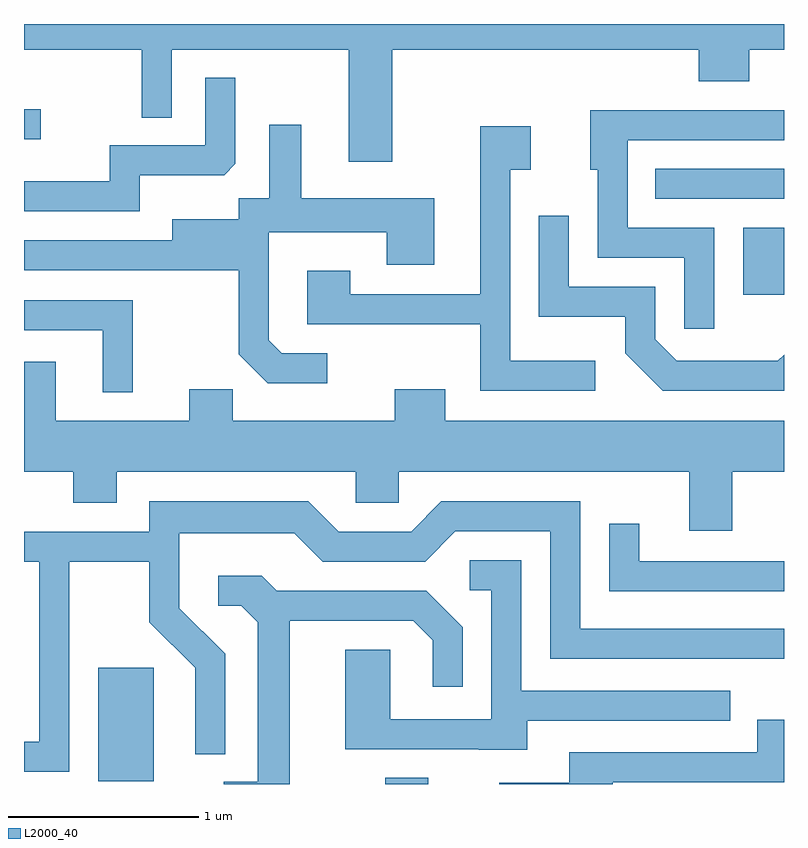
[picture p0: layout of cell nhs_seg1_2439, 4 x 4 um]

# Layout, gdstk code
import gdstk
lib = gdstk.Library(unit=1e-6, precision=1e-09)
def R(c, l, rs):  # rectangles x0, y0, x1, y1
    for r in rs: c.add(gdstk.rectangle(r[:2], r[2:], *l))
def P(c, l, *ps):  # polygons
    for p in ps: c.add(gdstk.Polygon(p, *l))
L2000_40 = (2000, 40)

nhs_seg1_2439 = lib.new_cell('nhs_seg1_2439')
R(nhs_seg1_2439, L2000_40, [(261.511,895.712,261.739,895.744), (260.001,895.726,260.294,896.324), (263.396,898.286,263.611,898.639), (262.933,898.791,263.611,898.949), (259.611,899.106,259.698,899.264)])
P(nhs_seg1_2439, L2000_40, [(261.549,899.576),(263.161,899.576),(263.161,899.411),(263.429,899.411),(263.429,899.576),(263.611,899.576),(263.611,899.712),(259.611,899.712),(259.611,899.576),(260.231,899.576),(260.231,899.218),(260.389,899.218),(260.389,899.576),(261.321,899.576),(261.321,898.986),(261.549,898.986)],
  [(260.219,898.916),(260.664,898.916),(260.724,898.977),(260.724,899.428),(260.566,899.428),(260.566,899.074),(260.061,899.074),(260.061,898.884),(259.613,898.884),(259.613,898.726),(260.219,898.726)],
  [(263.244,898.639),(262.789,898.639),(262.789,899.101),(263.611,899.101),(263.611,899.259),(262.591,899.259),(262.591,898.946),(262.631,898.946),(262.631,898.481),(263.086,898.481),(263.086,898.108),(263.244,898.108)],
  [(261.207,897.979),(260.967,897.979),(260.899,898.047),(260.899,898.616),(261.521,898.616),(261.521,898.446),(261.769,898.446),(261.769,898.794),(261.069,898.794),(261.069,899.183),(260.901,899.183),(260.901,898.794),(260.741,898.794),(260.741,898.684),(260.391,898.684),(260.391,898.574),(259.611,898.574),(259.611,898.416),(260.741,898.416),(260.741,897.974),(260.894,897.821),(261.207,897.821)],
  [(262.618,897.939),(262.169,897.939),(262.169,898.946),(262.279,898.946),(262.279,899.174),(262.011,899.174),(262.011,898.289),(261.329,898.289),(261.329,898.414),(261.101,898.414),(261.101,898.131),(262.011,898.131),(262.011,897.781),(262.618,897.781)],
  [(263.611,897.971),(263.579,897.939),(263.047,897.939),(262.934,898.052),(262.934,898.329),(262.479,898.329),(262.479,898.703),(262.321,898.703),(262.321,898.171),(262.776,898.171),(262.776,897.979),(262.974,897.781),(263.611,897.781)],
  [(260.184,898.259),(259.611,898.259),(259.611,898.101),(260.026,898.101),(260.026,897.773),(260.184,897.773)],
  [(263.339,897.356),(263.611,897.356),(263.611,897.624),(261.829,897.624),(261.829,897.789),(261.561,897.789),(261.561,897.624),(260.709,897.624),(260.709,897.789),(260.481,897.789),(260.481,897.624),(259.779,897.624),(259.779,897.934),(259.611,897.934),(259.611,897.356),(259.871,897.356),(259.871,897.191),(260.099,897.191),(260.099,897.356),(261.356,897.356),(261.356,897.191),(261.584,897.191),(261.584,897.356),(263.111,897.356),(263.111,897.046),(263.339,897.046)],
  [(259.849,896.881),(260.271,896.881),(260.271,896.564),(260.511,896.324),(260.511,895.868),(260.669,895.868),(260.669,896.397),(260.429,896.637),(260.429,897.031),(261.034,897.031),(261.183,896.881),(261.722,896.881),(261.882,897.041),(262.381,897.041),(262.381,896.371),(263.611,896.371),(263.611,896.529),(262.539,896.529),(262.539,897.199),(261.808,897.199),(261.649,897.039),(261.267,897.039),(261.106,897.199),(260.271,897.199),(260.271,897.039),(259.611,897.039),(259.611,896.881),(259.691,896.881),(259.691,895.934),(259.611,895.934),(259.611,895.776),(259.849,895.776)],
  [(263.611,896.884),(262.849,896.884),(262.849,897.083),(262.691,897.083),(262.691,896.726),(263.611,896.726)],
  [(262.259,896.046),(263.328,896.046),(263.328,896.204),(262.229,896.204),(262.229,896.889),(261.957,896.889),(261.957,896.731),(262.071,896.731),(262.071,896.054),(261.539,896.054),(261.539,896.419),(261.301,896.419),(261.301,895.896),(262.005,895.896),(262.005,895.891),(262.259,895.891)],
  [(261.009,896.571),(261.659,896.571),(261.761,896.469),(261.761,896.223),(261.919,896.223),(261.919,896.537),(261.727,896.729),(260.942,896.729),(260.861,896.809),(260.633,896.809),(260.633,896.651),(260.754,896.651),(260.841,896.564),(260.841,895.724),(260.663,895.724),(260.663,895.712),(261.009,895.712)],
  [(262.709,895.721),(263.611,895.721),(263.611,896.049),(263.471,896.049),(263.471,895.879),(262.481,895.879),(262.481,895.719),(262.113,895.719),(262.113,895.712),(262.709,895.712)])

lib.write_gds('nhs_seg1_2439.gds')
